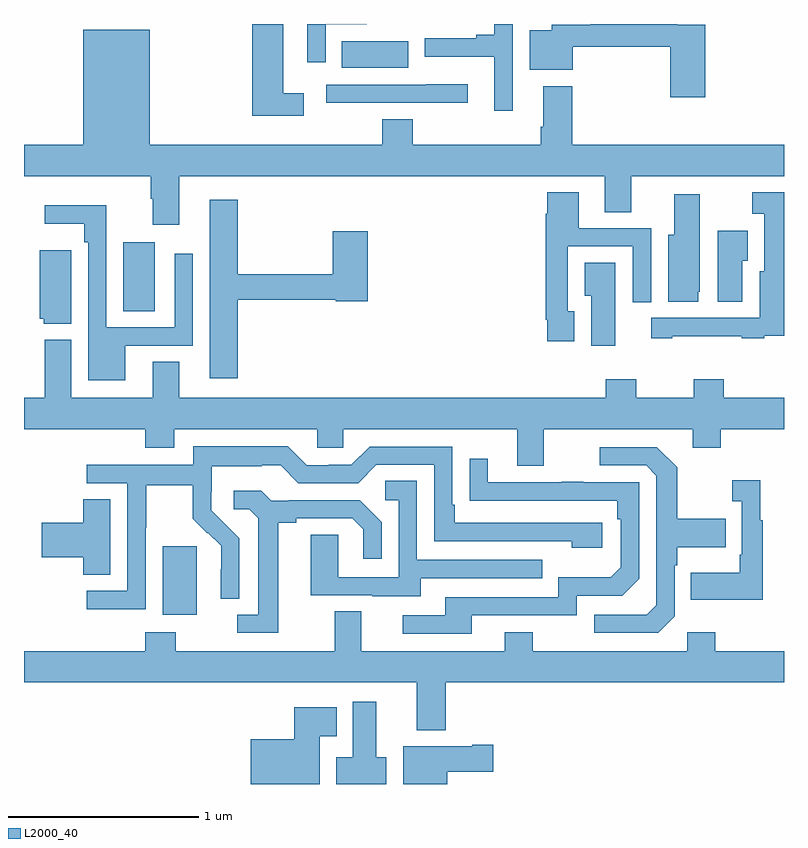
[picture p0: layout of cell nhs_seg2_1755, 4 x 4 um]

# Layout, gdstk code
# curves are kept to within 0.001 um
import gdstk
lib = gdstk.Library(unit=1e-6, precision=1e-09)
def R(c, l, rs):  # rectangles x0, y0, x1, y1
    for r in rs: c.add(gdstk.rectangle(r[:2], r[2:], *l))
def P(c, l, *ps):  # polygons
    for p in ps: c.add(gdstk.Polygon(p, *l))
L2000_40 = (2000, 40)

nhs_seg2_1755 = lib.new_cell('nhs_seg2_1755')
R(nhs_seg2_1755, L2000_40, [(203.729,614.69,203.908,615.051), (203.522,616.288,203.689,616.651), (204.673,617.57,205.023,617.71)])
P(nhs_seg2_1755, L2000_40, [(204.588,617.798),(204.805,617.798),(204.805,617.8),(204.492,617.8),(204.492,617.598),(204.588,617.598)],
  [(205.572,617.8),(205.475,617.8),(205.475,617.744),(205.379,617.744),(205.379,617.725),(205.108,617.725),(205.108,617.627),(205.475,617.627),(205.475,617.343),(205.572,617.343)],
  [(204.472,617.435),(204.364,617.435),(204.364,617.8),(204.2,617.8),(204.2,617.318),(204.472,617.318)],
  [(206.585,617.796),(206.438,617.796),(206.438,617.8),(205.984,617.8),(205.984,617.796),(205.778,617.796),(205.778,617.767),(205.661,617.767),(205.661,617.558),(205.888,617.558),(205.888,617.68),(206.402,617.68),(206.402,617.415),(206.585,617.415)],
  [(206.057,616.81),(206.197,616.81),(206.197,617),(207,617),(207,617.164),(205.886,617.164),(205.886,617.473),(205.733,617.473),(205.733,617.26),(205.721,617.26),(205.721,617.164),(205.046,617.164),(205.046,617.3),(204.886,617.3),(204.886,617.164),(203.662,617.164),(203.662,617.77),(203.312,617.77),(203.312,617.164),(203,617.164),(203,617),(203.666,617),(203.666,616.88),(203.678,616.88),(203.678,616.743),(203.818,616.743),(203.818,617),(206.057,617)],
  [(205.336,617.482),(205.116,617.482),(205.116,617.481),(204.591,617.481),(204.591,617.385),(205.336,617.385)],
  [(205.897,616.287),(205.863,616.287),(205.863,616.629),(206.205,616.629),(206.205,616.335),(206.301,616.335),(206.301,616.725),(205.921,616.725),(205.921,616.915),(205.754,616.915),(205.754,616.802),(205.747,616.802),(205.747,616.243),(205.755,616.243),(205.755,616.131),(205.897,616.131)],
  [(206.413,616.156),(206.777,616.156),(206.777,616.146),(206.897,616.146),(206.897,616.158),(207,616.158),(207,616.915),(206.832,616.915),(206.832,616.802),(206.897,616.802),(206.897,616.5),(206.873,616.5),(206.873,616.254),(206.301,616.254),(206.301,616.146),(206.413,616.146)],
  [(206.548,616.392),(206.557,616.392),(206.557,616.903),(206.423,616.903),(206.423,616.69),(206.39,616.69),(206.39,616.339),(206.548,616.339)],
  [(204.125,616.348),(204.642,616.348),(204.642,616.34),(204.809,616.34),(204.809,616.708),(204.626,616.708),(204.626,616.484),(204.125,616.484),(204.125,616.876),(203.978,616.876),(203.978,615.936),(204.125,615.936)],
  [(203.533,616.107),(203.889,616.107),(203.889,616.591),(203.793,616.591),(203.793,616.203),(203.433,616.203),(203.433,616.846),(203.109,616.846),(203.109,616.748),(203.317,616.748),(203.317,616.652),(203.337,616.652),(203.337,615.926),(203.533,615.926)],
  [(206.779,616.555),(206.809,616.555),(206.809,616.711),(206.651,616.711),(206.651,616.339),(206.779,616.339)],
  [(203.248,616.609),(203.084,616.609),(203.084,616.248),(203.103,616.248),(203.103,616.223),(203.248,616.223)],
  [(206.113,616.544),(205.952,616.544),(205.952,616.37),(205.985,616.37),(205.985,616.107),(206.113,616.107)],
  [(205.735,615.668),(206.519,615.668),(206.519,615.569),(206.667,615.569),(206.667,615.668),(207,615.668),(207,615.832),(206.684,615.832),(206.684,615.931),(206.524,615.931),(206.524,615.832),(206.223,615.832),(206.223,615.931),(206.063,615.931),(206.063,615.832),(203.818,615.832),(203.818,616.022),(203.678,616.022),(203.678,615.832),(203.248,615.832),(203.248,616.138),(203.11,616.138),(203.11,615.832),(203,615.832),(203,615.668),(203.639,615.668),(203.639,615.569),(203.791,615.569),(203.791,615.668),(204.543,615.668),(204.543,615.57),(204.681,615.57),(204.681,615.668),(205.595,615.668),(205.595,615.474),(205.735,615.474)],
  [(203.64,615.148),(203.643,615.148),(203.643,615.372),(203.887,615.372),(203.887,615.197),(203.964,615.12),(203.967,615.123),(204.038,615.053),(204.038,614.93),(204.036,614.93),(204.036,614.776),(204.132,614.776),(204.132,615.094),(203.986,615.242),(203.986,615.339),(203.988,615.339),(203.988,615.473),(204.251,615.473),(204.251,615.477),(204.351,615.477),(204.444,615.384),(204.759,615.384),(204.855,615.48),(205.158,615.48),(205.158,615.078),(205.883,615.078),(205.883,615.044),(206.044,615.044),(206.044,615.174),(205.267,615.174),(205.267,615.271),(205.254,615.271),(205.254,615.576),(204.819,615.576),(204.723,615.48),(204.605,615.48),(204.605,615.477),(204.489,615.477),(204.389,615.577),(203.892,615.577),(203.892,615.48),(203.331,615.48),(203.331,615.384),(203.544,615.384),(203.544,614.817),(203.331,614.817),(203.331,614.719),(203.64,614.719)],
  [(206.424,614.682),(206.424,614.951),(206.437,614.951),(206.437,615.047),(206.693,615.047),(206.693,615.195),(206.437,615.195),(206.437,615.467),(206.331,615.573),(206.031,615.573),(206.031,615.477),(206.274,615.477),(206.328,615.423),(206.328,614.742),(206.277,614.691),(206.001,614.691),(206.001,614.595),(206.337,614.595)],
  [(205.357,614.688),(205.908,614.688),(205.908,614.79),(206.148,614.79),(206.238,614.88),(206.238,615.387),(205.943,615.387),(205.943,615.392),(205.831,615.392),(205.831,615.387),(205.441,615.387),(205.441,615.511),(205.345,615.511),(205.345,615.292),(206.122,615.291),(206.122,615.194),(206.142,615.194),(206.142,614.94),(206.089,614.887),(205.812,614.887),(205.812,614.784),(205.217,614.784),(205.217,614.688),(204.993,614.688),(204.993,614.592),(205.357,614.592)],
  [(206.887,615.187),(206.875,615.187),(206.875,615.4),(206.727,615.4),(206.727,615.287),(206.778,615.287),(206.778,615.007),(206.766,615.007),(206.766,614.911),(206.509,614.911),(206.509,614.771),(206.887,614.771)],
  [(205.087,614.883),(205.727,614.883),(205.727,614.979),(205.068,614.979),(205.068,615.395),(204.9,615.395),(204.9,615.294),(204.972,615.294),(204.972,614.889),(204.654,614.889),(204.654,615.113),(204.509,615.113),(204.509,614.793),(204.833,614.793),(204.833,614.789),(205.087,614.789)],
  [(204.337,615.176),(204.433,615.176),(204.433,615.198),(204.728,615.198),(204.785,615.141),(204.785,614.985),(204.882,614.985),(204.882,615.178),(204.766,615.294),(204.394,615.294),(204.394,615.291),(204.3,615.291),(204.248,615.343),(204.105,615.343),(204.105,615.246),(204.186,615.246),(204.233,615.199),(204.233,614.691),(204.123,614.691),(204.123,614.595),(204.337,614.595)],
  [(203.455,615.299),(203.312,615.299),(203.312,615.176),(203.094,615.176),(203.094,614.993),(203.312,614.993),(203.312,614.902),(203.455,614.902)],
  [(205.22,614.336),(207,614.336),(207,614.5),(206.637,614.5),(206.637,614.599),(206.49,614.599),(206.49,614.5),(205.677,614.5),(205.677,614.599),(205.529,614.599),(205.529,614.5),(204.775,614.5),(204.775,614.708),(204.635,614.708),(204.635,614.5),(203.799,614.5),(203.799,614.599),(203.639,614.599),(203.639,614.5),(203,614.5),(203,614.336),(205.067,614.336),(205.067,614.084),(205.22,614.084)],
  [(204.907,613.942),(204.853,613.942),(204.853,614.233),(204.731,614.233),(204.731,613.942),(204.644,613.942),(204.644,613.8),(204.907,613.8)],
  [(204.556,614.051),(204.646,614.051),(204.646,614.203),(204.422,614.203),(204.422,614.035),(204.194,614.035),(204.194,613.8),(204.556,613.8)],
  [(205.228,613.865),(205.471,613.865),(205.471,614.007),(205.358,614.007),(205.358,613.999),(204.995,613.999),(204.995,613.8),(205.228,613.8)])

lib.write_gds('nhs_seg2_1755.gds')
